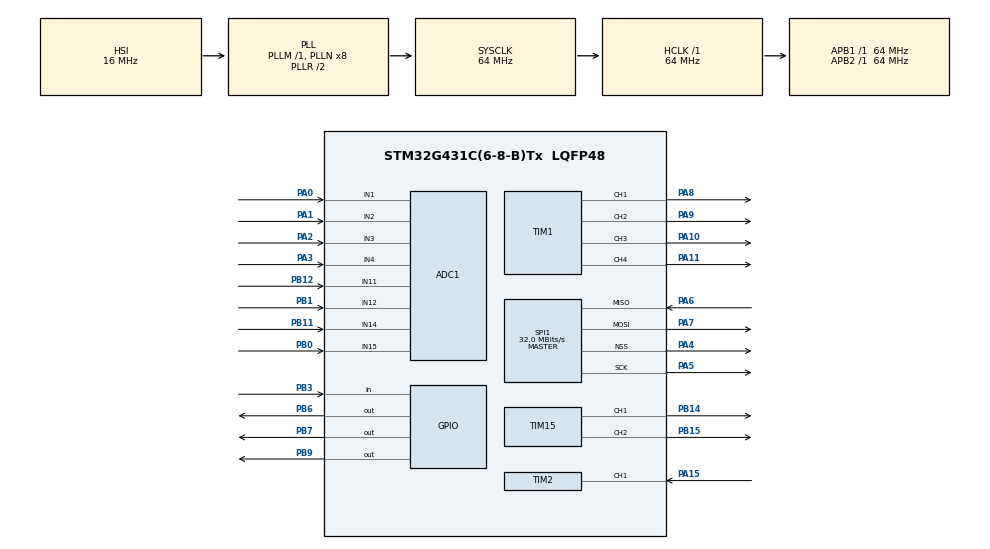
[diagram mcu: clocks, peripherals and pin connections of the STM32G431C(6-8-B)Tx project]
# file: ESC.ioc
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ADC1.Channel-1\#ChannelRegularConversion=ADC_CHANNEL_1
ADC1.Channel-2\#ChannelRegularConversion=ADC_CHANNEL_2
ADC1.Channel-3\#ChannelRegularConversion=ADC_CHANNEL_3
ADC1.Channel-4\#ChannelRegularConversion=ADC_CHANNEL_4
ADC1.Channel-5\#ChannelRegularConversion=ADC_CHANNEL_11
ADC1.Channel-6\#ChannelRegularConversion=ADC_CHANNEL_12
ADC1.Channel-7\#ChannelRegularConversion=ADC_CHANNEL_14
ADC1.Channel-8\#ChannelRegularConversion=ADC_CHANNEL_15
ADC1.Channel-9\#ChannelRegularConversion=ADC_CHANNEL_TEMPSENSOR_ADC1
ADC1.DiscontinuousConvMode=ENABLE
ADC1.NbrOfConversion=9
ADC1.NbrOfConversionFlag=1
ADC1.OffsetNumber-1\#ChannelRegularConversion=ADC_OFFSET_NONE
ADC1.OffsetNumber-2\#ChannelRegularConversion=ADC_OFFSET_NONE
ADC1.OffsetNumber-3\#ChannelRegularConversion=ADC_OFFSET_NONE
ADC1.OffsetNumber-4\#ChannelRegularConversion=ADC_OFFSET_NONE
ADC1.OffsetNumber-5\#ChannelRegularConversion=ADC_OFFSET_NONE
ADC1.OffsetNumber-6\#ChannelRegularConversion=ADC_OFFSET_NONE
ADC1.OffsetNumber-7\#ChannelRegularConversion=ADC_OFFSET_NONE
ADC1.OffsetNumber-8\#ChannelRegularConversion=ADC_OFFSET_NONE
ADC1.OffsetNumber-9\#ChannelRegularConversion=ADC_OFFSET_NONE
ADC1.Rank-1\#ChannelRegularConversion=1
ADC1.Rank-2\#ChannelRegularConversion=2
ADC1.Rank-3\#ChannelRegularConversion=3
ADC1.Rank-4\#ChannelRegularConversion=4
ADC1.Rank-5\#ChannelRegularConversion=5
ADC1.Rank-6\#ChannelRegularConversion=6
ADC1.Rank-7\#ChannelRegularConversion=7
ADC1.Rank-8\#ChannelRegularConversion=8
ADC1.Rank-9\#ChannelRegularConversion=9
ADC1.SamplingTime-1\#ChannelRegularConversion=ADC_SAMPLETIME_2CYCLES_5
ADC1.SamplingTime-2\#ChannelRegularConversion=ADC_SAMPLETIME_2CYCLES_5
ADC1.SamplingTime-3\#ChannelRegularConversion=ADC_SAMPLETIME_2CYCLES_5
ADC1.SamplingTime-4\#ChannelRegularConversion=ADC_SAMPLETIME_2CYCLES_5
ADC1.SamplingTime-5\#ChannelRegularConversion=ADC_SAMPLETIME_2CYCLES_5
ADC1.SamplingTime-6\#ChannelRegularConversion=ADC_SAMPLETIME_2CYCLES_5
ADC1.SamplingTime-7\#ChannelRegularConversion=ADC_SAMPLETIME_2CYCLES_5
ADC1.SamplingTime-8\#ChannelRegularConversion=ADC_SAMPLETIME_2CYCLES_5
ADC1.SamplingTime-9\#ChannelRegularConversion=ADC_SAMPLETIME_2CYCLES_5
ADC1.master=1
Dma.ADC1.0.Direction=DMA_PERIPH_TO_MEMORY
Dma.ADC1.0.EventEnable=DISABLE
Dma.ADC1.0.Instance=DMA1_Channel1
Dma.ADC1.0.MemDataAlignment=DMA_MDATAALIGN_WORD
Dma.ADC1.0.MemInc=DMA_MINC_ENABLE
Dma.ADC1.0.Mode=DMA_CIRCULAR
Dma.ADC1.0.PeriphDataAlignment=DMA_PDATAALIGN_WORD
Dma.ADC1.0.PeriphInc=DMA_PINC_DISABLE
Dma.ADC1.0.Polarity=HAL_DMAMUX_REQ_GEN_RISING
Dma.ADC1.0.Priority=DMA_PRIORITY_LOW
Dma.ADC1.0.RequestNumber=1
Dma.ADC1.0.SignalID=NONE
Dma.ADC1.0.SyncEnable=DISABLE
Dma.ADC1.0.SyncPolarity=HAL_DMAMUX_SYNC_NO_EVENT
Dma.ADC1.0.SyncRequestNumber=1
Dma.ADC1.0.SyncSignalID=NONE
Dma.Request0=ADC1
Mcu.Family=STM32G4
Mcu.Name=STM32G431C(6-8-B)Tx
Mcu.Package=LQFP48
NVIC.DMA1_Channel1_IRQn=true\:0\:0\:false\:false\:true\:false\:true\:true
NVIC.PriorityGroup=NVIC_PRIORITYGROUP_4
NVIC.TIM1_BRK_TIM15_IRQn=true\:0\:0\:false\:false\:true\:true\:true\:true
PA0.Mode=IN1-Single-Ended
PA0.Signal=ADC1_IN1
PA1.Mode=IN2-Single-Ended
PA1.Signal=ADC1_IN2
PA10.Signal=S_TIM1_CH3
PA11.Signal=S_TIM1_CH4
PA13.Signal=SYS_JTMS-SWDIO
PA14.Signal=SYS_JTCK-SWCLK
PA15.Signal=S_TIM2_CH1
PA2.Mode=IN3-Single-Ended
PA2.Signal=ADC1_IN3
PA3.Mode=IN4-Single-Ended
PA3.Signal=ADC1_IN4
PA4.Mode=NSS_Signal_Hard_Output
PA4.Signal=SPI1_NSS
PA5.Mode=Full_Duplex_Master
PA5.Signal=SPI1_SCK
PA6.Mode=Full_Duplex_Master
PA6.Signal=SPI1_MISO
PA7.Mode=Full_Duplex_Master
PA7.Signal=SPI1_MOSI
PA8.Signal=S_TIM1_CH1
PA9.Signal=S_TIM1_CH2
PB0.Mode=IN15-Single-Ended
PB0.Signal=ADC1_IN15
PB1.Mode=IN12-Single-Ended
PB1.Signal=ADC1_IN12
PB11.Mode=IN14-Single-Ended
PB11.Signal=ADC1_IN14
PB12.Mode=IN11-Single-Ended
PB12.Signal=ADC1_IN11
PB14.Signal=S_TIM15_CH1
PB15.Signal=S_TIM15_CH2
PB3.GPIO_PuPd=GPIO_PULLDOWN
PB3.Signal=GPIO_Input
PB6.Signal=GPIO_Output
PB7.GPIO_PuPd=GPIO_PULLDOWN
PB7.Signal=GPIO_Output
PB9.GPIO_PuPd=GPIO_PULLUP
PB9.Signal=GPIO_Output
PF0-OSC_IN.Mode=HSE-External-Oscillator
PF0-OSC_IN.Signal=RCC_OSC_IN
PF1-OSC_OUT.Mode=HSE-External-Oscillator
PF1-OSC_OUT.Signal=RCC_OSC_OUT
ProjectManager.HeapSize=0x200
ProjectManager.StackSize=0x400
ProjectManager.TargetToolchain=CMake
RCC.ADC12Freq_Value=64000000
RCC.AHBFreq_Value=64000000
RCC.APB1Freq_Value=64000000
RCC.APB1TimFreq_Value=64000000
RCC.APB2Freq_Value=64000000
RCC.APB2TimFreq_Value=64000000
RCC.CortexFreq_Value=64000000
RCC.EXTERNAL_CLOCK_VALUE=12288000
RCC.HCLKFreq_Value=64000000
RCC.HSE_VALUE=16000000
RCC.HSI48_VALUE=48000000
RCC.HSI_VALUE=16000000
RCC.LSE_VALUE=32768
RCC.SYSCLKFreq_VALUE=64000000
RCC.SYSCLKSource=RCC_SYSCLKSOURCE_PLLCLK
RCC.USBFreq_Value=64000000
RCC.VCOOutputFreq_Value=128000000
SH.S_TIM15_CH1.0=TIM15_CH1,PWM Generation1 CH1
SH.S_TIM15_CH2.0=TIM15_CH2,PWM Generation2 CH2
SH.S_TIM1_CH1.0=TIM1_CH1,PWM Generation1 CH1
SH.S_TIM1_CH2.0=TIM1_CH2,PWM Generation2 CH2
SH.S_TIM1_CH3.0=TIM1_CH3,PWM Generation3 CH3
SH.S_TIM1_CH4.0=TIM1_CH4,PWM Generation4 CH4
SH.S_TIM2_CH1.0=TIM2_CH1,PWM_Input_1
SPI1.CalculateBaudRate=32.0 MBits/s
SPI1.Direction=SPI_DIRECTION_2LINES
SPI1.Mode=SPI_MODE_MASTER
SPI1.VirtualNSS=VM_NSSHARD
SPI1.VirtualType=VM_MASTER
TIM1.Channel-PWM\ Generation1\ CH1=TIM_CHANNEL_1
TIM1.Channel-PWM\ Generation2\ CH2=TIM_CHANNEL_2
TIM1.Channel-PWM\ Generation3\ CH3=TIM_CHANNEL_3
TIM1.Channel-PWM\ Generation4\ CH4=TIM_CHANNEL_4
TIM15.Channel-PWM\ Generation1\ CH1=TIM_CHANNEL_1
TIM15.Channel-PWM\ Generation2\ CH2=TIM_CHANNEL_2
VP_ADC1_TempSens_Input.Mode=IN-TempSens
VP_SYS_VS_DBSignals.Mode=DisableDeadBatterySignals
VP_TIM15_VS_ClockSourceINT.Mode=Internal
VP_TIM1_VS_ClockSourceINT.Mode=Internal
VP_TIM2_VS_ClockSourceINT.Mode=Internal
board=custom

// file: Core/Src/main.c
/* USER CODE BEGIN Header */
/**
 ******************************************************************************
 * @file           : main.c
 * @brief          : Main program body
 ******************************************************************************
 * @attention
 *
 * Copyright (c) 2026 STMicroelectronics.
 * All rights reserved.
 *
 * This software is licensed under terms that can be found in the LICENSE file
 * in the root directory of this software component.
 * If no LICENSE file comes with this software, it is provided AS-IS.
 *
 ******************************************************************************
 */
/* USER CODE END Header */
#include "main.h"

/* USER CODE BEGIN Includes */
#include <stdbool.h>
#include <stddef.h>
#include <stdint.h>
#include <sys/types.h>

#include "pid.h"

/* USER CODE END Includes */

/* USER CODE BEGIN PD */

// Configuration define
#define HAL_TIMEOUT 100
#define MIN_RPM 100
#define MAX_RPM 1000
#define BEMF_MIN_MARGIN 0.1 // How much above zero the BEMF voltage needs to be to read
#define BEMF_MAX_MARGIN 1   // How much below sys voltage BEMF needs to be to read
#define SET_ROTOR_TIME 10   // How long to wait in ms to set rotor to position
#define MIN_DUTY_CYCLE 0.1  // Minimum pwm duty cycle to send to gate driver

// System define
#define SYS_VOLT_INDEX 0
#define BEMF_A_INDEX 1
#define BEMF_B_INDEX 2
#define BEMF_C_INDEX 3
#define CURRENT_A_INDEX 4
#define CURRENT_B_INDEX 6
#define CURRENT_C_INDEX 5
#define V_GND_INDEX 7
#define TEMP_INDEX 8

/* USER CODE END PD */

ADC_HandleTypeDef hadc1;
DMA_HandleTypeDef hdma_adc1;

SPI_HandleTypeDef hspi1;

TIM_HandleTypeDef htim1;
TIM_HandleTypeDef htim2;
TIM_HandleTypeDef htim15;

/* USER CODE BEGIN PV */

const uint32_t STARTUP_DELAY = MIN_RPM / 360000; // Convert RPM to 1/6 revolutions per ms

pid_control_t speed_pid;

double rotor_angle;
double prev_rotor_angle;
double prev_rotor_angle_time;
double prev_rotor_speed_time;
double zero_cross_time;
double rotor_speed;
double input_speed;

double rotor_current[3];
double rotor_bemf[3];
double prev_rotor_bemf[3];

int8_t dir;
int8_t sequence[6][3] = { // 1 is VCC, -1 is GND, and 0 is floating
	{1, -1, 0},
	{1, 0, -1},
	{0, 1, -1},
	{-1, 1, 0},
	{-1, 0, 1},
	{0, -1, 1}
};
volatile uint32_t *sequence_tim[3][2] = {
	{&TIM1->CCR4, &TIM1->CCR3},
	{&TIM1->CCR2, &TIM1->CCR1},
	{&TIM2->CCR2, &TIM2->CCR1},
};
uint32_t phase_angles[] = {0, 120, 240};
uint8_t step;
uint8_t floating;

uint32_t adc_buf[9];

/* USER CODE END PV */

void SystemClock_Config(void);
static void MX_GPIO_Init(void);
static void MX_DMA_Init(void);
static void MX_SPI1_Init(void);
static void MX_ADC1_Init(void);
static void MX_TIM1_Init(void);
static void MX_TIM15_Init(void);
static void MX_TIM2_Init(void);
/* USER CODE BEGIN PFP */

// Helper functions
static uint8_t sign(double value);
static float process_adc(uint32_t raw_value);
static float process_current(double raw_value);
static uint8_t check_valid_bemf(double bemf_v);
static double clamp(double value, double min, double max);
static double map(double value, double in_min, double in_max, double out_min, double out_max);

// Primary funcitons
static double get_rotor_angle(uint8_t floating, double rotor_speed);
static void get_rotor_bemf(double *rotor_bemf_p);
static void get_rotor_current(double *rotor_current_p);

static void drive_rotor(uint8_t step, double duty_cycle);
static void get_zero_crossing(double bemf[3], double prev_bemf[3]);

static void set_rotor(void);
static void startup_sequence(void);

/* USER CODE END PFP */

int main(void)
{

	/* USER CODE BEGIN 1 */
	reset_pid(&speed_pid);

	/* USER CODE END 1 */

	/* MCU Configuration--------------------------------------------------------*/

	/* Reset of all peripherals, Initializes the Flash interface and the Systick. */
	HAL_Init();

	/* Configure the system clock */
	SystemClock_Config();

	/* Initialize all configured peripherals */
	MX_GPIO_Init();
	MX_DMA_Init();
	MX_SPI1_Init();
	MX_ADC1_Init();
	MX_TIM1_Init();
	MX_TIM15_Init();
	MX_TIM2_Init();
	/* USER CODE BEGIN 2 */

	// Start polling ADC
	HAL_ADC_Start_DMA(&hadc1, adc_buf, 9);

	set_rotor();

	/* USER CODE END 2 */

	/* Infinite loop */
	while (1)
	{

		/* USER CODE BEGIN 3 */
		get_rotor_bemf(rotor_bemf);
		get_zero_crossing(rotor_bemf, prev_rotor_bemf);
		rotor_angle = get_rotor_angle(floating, rotor_speed);

		loop_pid(&speed_pid, rotor_speed, input_speed);

		drive_rotor(step, clamp(speed_pid.output, MIN_DUTY_CYCLE, 100));

		// Update previous rotor bemf
		for (int i = 0; i < 3; i++) {
			prev_rotor_bemf[i] = rotor_bemf[i];
		}
	}
	/* USER CODE END 3 */
}

void SystemClock_Config(void)
{
	RCC_OscInitTypeDef RCC_OscInitStruct = {0};
	RCC_ClkInitTypeDef RCC_ClkInitStruct = {0};

	/** Configure the main internal regulator output voltage
	 */
	HAL_PWREx_ControlVoltageScaling(PWR_REGULATOR_VOLTAGE_SCALE1);

	/** Initializes the RCC Oscillators according to the specified parameters
	 * in the RCC_OscInitTypeDef structure.
	 */
	RCC_OscInitStruct.OscillatorType = RCC_OSCILLATORTYPE_HSI;
	RCC_OscInitStruct.HSIState = RCC_HSI_ON;
	RCC_OscInitStruct.HSICalibrationValue = RCC_HSICALIBRATION_DEFAULT;
	RCC_OscInitStruct.PLL.PLLState = RCC_PLL_ON;
	RCC_OscInitStruct.PLL.PLLSource = RCC_PLLSOURCE_HSI;
	RCC_OscInitStruct.PLL.PLLM = RCC_PLLM_DIV1;
	RCC_OscInitStruct.PLL.PLLN = 8;
	RCC_OscInitStruct.PLL.PLLP = RCC_PLLP_DIV2;
	RCC_OscInitStruct.PLL.PLLQ = RCC_PLLQ_DIV2;
	RCC_OscInitStruct.PLL.PLLR = RCC_PLLR_DIV2;
	if (HAL_RCC_OscConfig(&RCC_OscInitStruct) != HAL_OK)
	{
		Error_Handler();
	}

	/** Initializes the CPU, AHB and APB buses clocks
	 */
	RCC_ClkInitStruct.ClockType = RCC_CLOCKTYPE_HCLK|RCC_CLOCKTYPE_SYSCLK
	                              |RCC_CLOCKTYPE_PCLK1|RCC_CLOCKTYPE_PCLK2;
	RCC_ClkInitStruct.SYSCLKSource = RCC_SYSCLKSOURCE_PLLCLK;
	RCC_ClkInitStruct.AHBCLKDivider = RCC_SYSCLK_DIV1;
	RCC_ClkInitStruct.APB1CLKDivider = RCC_HCLK_DIV1;
	RCC_ClkInitStruct.APB2CLKDivider = RCC_HCLK_DIV1;

	if (HAL_RCC_ClockConfig(&RCC_ClkInitStruct, FLASH_LATENCY_2) != HAL_OK)
	{
		Error_Handler();
	}
}

static void MX_ADC1_Init(void)
{

	ADC_MultiModeTypeDef multimode = {0};
	ADC_ChannelConfTypeDef sConfig = {0};

	/** Common config
	 */
	hadc1.Instance = ADC1;
	hadc1.Init.ClockPrescaler = ADC_CLOCK_SYNC_PCLK_DIV2;
	hadc1.Init.Resolution = ADC_RESOLUTION_12B;
	hadc1.Init.DataAlign = ADC_DATAALIGN_RIGHT;
	hadc1.Init.GainCompensation = 0;
	hadc1.Init.ScanConvMode = ADC_SCAN_ENABLE;
	hadc1.Init.EOCSelection = ADC_EOC_SINGLE_CONV;
	hadc1.Init.LowPowerAutoWait = DISABLE;
	hadc1.Init.ContinuousConvMode = DISABLE;
	hadc1.Init.NbrOfConversion = 9;
	hadc1.Init.DiscontinuousConvMode = ENABLE;
	hadc1.Init.NbrOfDiscConversion = 1;
	hadc1.Init.ExternalTrigConv = ADC_SOFTWARE_START;
	hadc1.Init.ExternalTrigConvEdge = ADC_EXTERNALTRIGCONVEDGE_NONE;
	hadc1.Init.DMAContinuousRequests = DISABLE;
	hadc1.Init.Overrun = ADC_OVR_DATA_PRESERVED;
	hadc1.Init.OversamplingMode = DISABLE;
	if (HAL_ADC_Init(&hadc1) != HAL_OK)
	{
		Error_Handler();
	}

	/** Configure the ADC multi-mode
	 */
	multimode.Mode = ADC_MODE_INDEPENDENT;
	if (HAL_ADCEx_MultiModeConfigChannel(&hadc1, &multimode) != HAL_OK)
	{
		Error_Handler();
	}

	/** Configure Regular Channel
	 */
	sConfig.Channel = ADC_CHANNEL_1;
	sConfig.Rank = ADC_REGULAR_RANK_1;
	sConfig.SamplingTime = ADC_SAMPLETIME_2CYCLES_5;
	sConfig.SingleDiff = ADC_SINGLE_ENDED;
	sConfig.OffsetNumber = ADC_OFFSET_NONE;
	sConfig.Offset = 0;
	if (HAL_ADC_ConfigChannel(&hadc1, &sConfig) != HAL_OK)
	{
		Error_Handler();
	}

	/** Configure Regular Channel
	 */
	sConfig.Channel = ADC_CHANNEL_2;
	sConfig.Rank = ADC_REGULAR_RANK_2;
	if (HAL_ADC_ConfigChannel(&hadc1, &sConfig) != HAL_OK)
	{
		Error_Handler();
	}

	/** Configure Regular Channel
	 */
	sConfig.Channel = ADC_CHANNEL_3;
	sConfig.Rank = ADC_REGULAR_RANK_3;
	if (HAL_ADC_ConfigChannel(&hadc1, &sConfig) != HAL_OK)
	{
		Error_Handler();
	}

	/** Configure Regular Channel
	 */
	sConfig.Channel = ADC_CHANNEL_4;
	sConfig.Rank = ADC_REGULAR_RANK_4;
	if (HAL_ADC_ConfigChannel(&hadc1, &sConfig) != HAL_OK)
	{
		Error_Handler();
	}

	/** Configure Regular Channel
	 */
	sConfig.Channel = ADC_CHANNEL_11;
	sConfig.Rank = ADC_REGULAR_RANK_5;
	if (HAL_ADC_ConfigChannel(&hadc1, &sConfig) != HAL_OK)
	{
		Error_Handler();
	}

	/** Configure Regular Channel
	 */
	sConfig.Channel = ADC_CHANNEL_12;
	sConfig.Rank = ADC_REGULAR_RANK_6;
	if (HAL_ADC_ConfigChannel(&hadc1, &sConfig) != HAL_OK)
	{
		Error_Handler();
	}

	/** Configure Regular Channel
	 */
	sConfig.Channel = ADC_CHANNEL_14;
	sConfig.Rank = ADC_REGULAR_RANK_7;
	if (HAL_ADC_ConfigChannel(&hadc1, &sConfig) != HAL_OK)
	{
		Error_Handler();
	}

	/** Configure Regular Channel
	 */
	sConfig.Channel = ADC_CHANNEL_15;
	sConfig.Rank = ADC_REGULAR_RANK_8;
	if (HAL_ADC_ConfigChannel(&hadc1, &sConfig) != HAL_OK)
	{
		Error_Handler();
	}

	/** Configure Regular Channel
	 */
	sConfig.Channel = ADC_CHANNEL_TEMPSENSOR_ADC1;
	sConfig.Rank = ADC_REGULAR_RANK_9;
	if (HAL_ADC_ConfigChannel(&hadc1, &sConfig) != HAL_OK)
	{
		Error_Handler();
	}

}

static void MX_SPI1_Init(void)
{

	/* SPI1 parameter configuration*/
	hspi1.Instance = SPI1;
	hspi1.Init.Mode = SPI_MODE_MASTER;
	hspi1.Init.Direction = SPI_DIRECTION_2LINES;
	hspi1.Init.DataSize = SPI_DATASIZE_4BIT;
	hspi1.Init.CLKPolarity = SPI_POLARITY_LOW;
	hspi1.Init.CLKPhase = SPI_PHASE_1EDGE;
	hspi1.Init.NSS = SPI_NSS_HARD_OUTPUT;
	hspi1.Init.BaudRatePrescaler = SPI_BAUDRATEPRESCALER_2;
	hspi1.Init.FirstBit = SPI_FIRSTBIT_MSB;
	hspi1.Init.TIMode = SPI_TIMODE_DISABLE;
	hspi1.Init.CRCCalculation = SPI_CRCCALCULATION_DISABLE;
	hspi1.Init.CRCPolynomial = 7;
	hspi1.Init.CRCLength = SPI_CRC_LENGTH_DATASIZE;
	hspi1.Init.NSSPMode = SPI_NSS_PULSE_ENABLE;
	if (HAL_SPI_Init(&hspi1) != HAL_OK)
	{
		Error_Handler();
	}

}

static void MX_TIM1_Init(void)
{

	TIM_ClockConfigTypeDef sClockSourceConfig = {0};
	TIM_MasterConfigTypeDef sMasterConfig = {0};
	TIM_OC_InitTypeDef sConfigOC = {0};
	TIM_BreakDeadTimeConfigTypeDef sBreakDeadTimeConfig = {0};

	htim1.Instance = TIM1;
	htim1.Init.Prescaler = 0;
	htim1.Init.CounterMode = TIM_COUNTERMODE_UP;
	htim1.Init.Period = 65535;
	htim1.Init.ClockDivision = TIM_CLOCKDIVISION_DIV1;
	htim1.Init.RepetitionCounter = 0;
	htim1.Init.AutoReloadPreload = TIM_AUTORELOAD_PRELOAD_DISABLE;
	if (HAL_TIM_Base_Init(&htim1) != HAL_OK)
	{
		Error_Handler();
	}
	sClockSourceConfig.ClockSource = TIM_CLOCKSOURCE_INTERNAL;
	if (HAL_TIM_ConfigClockSource(&htim1, &sClockSourceConfig) != HAL_OK)
	{
		Error_Handler();
	}
	if (HAL_TIM_PWM_Init(&htim1) != HAL_OK)
	{
		Error_Handler();
	}
	sMasterConfig.MasterOutputTrigger = TIM_TRGO_RESET;
	sMasterConfig.MasterOutputTrigger2 = TIM_TRGO2_RESET;
	sMasterConfig.MasterSlaveMode = TIM_MASTERSLAVEMODE_DISABLE;
	if (HAL_TIMEx_MasterConfigSynchronization(&htim1, &sMasterConfig) != HAL_OK)
	{
		Error_Handler();
	}
	sConfigOC.OCMode = TIM_OCMODE_PWM1;
	sConfigOC.Pulse = 0;
	sConfigOC.OCPolarity = TIM_OCPOLARITY_HIGH;
	sConfigOC.OCNPolarity = TIM_OCNPOLARITY_HIGH;
	sConfigOC.OCFastMode = TIM_OCFAST_DISABLE;
	sConfigOC.OCIdleState = TIM_OCIDLESTATE_RESET;
	sConfigOC.OCNIdleState = TIM_OCNIDLESTATE_RESET;
	if (HAL_TIM_PWM_ConfigChannel(&htim1, &sConfigOC, TIM_CHANNEL_1) != HAL_OK)
	{
		Error_Handler();
	}
	if (HAL_TIM_PWM_ConfigChannel(&htim1, &sConfigOC, TIM_CHANNEL_2) != HAL_OK)
	{
		Error_Handler();
	}
	if (HAL_TIM_PWM_ConfigChannel(&htim1, &sConfigOC, TIM_CHANNEL_3) != HAL_OK)
	{
		Error_Handler();
	}
	if (HAL_TIM_PWM_ConfigChannel(&htim1, &sConfigOC, TIM_CHANNEL_4) != HAL_OK)
	{
		Error_Handler();
	}
	sBreakDeadTimeConfig.OffStateRunMode = TIM_OSSR_DISABLE;
	sBreakDeadTimeConfig.OffStateIDLEMode = TIM_OSSI_DISABLE;
	sBreakDeadTimeConfig.LockLevel = TIM_LOCKLEVEL_OFF;
	sBreakDeadTimeConfig.DeadTime = 0;
	sBreakDeadTimeConfig.BreakState = TIM_BREAK_DISABLE;
	sBreakDeadTimeConfig.BreakPolarity = TIM_BREAKPOLARITY_HIGH;
	sBreakDeadTimeConfig.BreakFilter = 0;
	sBreakDeadTimeConfig.BreakAFMode = TIM_BREAK_AFMODE_INPUT;
	sBreakDeadTimeConfig.Break2State = TIM_BREAK2_DISABLE;
	sBreakDeadTimeConfig.Break2Polarity = TIM_BREAK2POLARITY_HIGH;
	sBreakDeadTimeConfig.Break2Filter = 0;
	sBreakDeadTimeConfig.Break2AFMode = TIM_BREAK_AFMODE_INPUT;
	sBreakDeadTimeConfig.AutomaticOutput = TIM_AUTOMATICOUTPUT_DISABLE;
	if (HAL_TIMEx_ConfigBreakDeadTime(&htim1, &sBreakDeadTimeConfig) != HAL_OK)
	{
		Error_Handler();
	}
	HAL_TIM_MspPostInit(&htim1);

}

static void MX_TIM2_Init(void)
{

	TIM_ClockConfigTypeDef sClockSourceConfig = {0};
	TIM_SlaveConfigTypeDef sSlaveConfig = {0};
	TIM_IC_InitTypeDef sConfigIC = {0};
	TIM_MasterConfigTypeDef sMasterConfig = {0};

	htim2.Instance = TIM2;
	htim2.Init.Prescaler = 0;
	htim2.Init.CounterMode = TIM_COUNTERMODE_UP;
	htim2.Init.Period = 4294967295;
	htim2.Init.ClockDivision = TIM_CLOCKDIVISION_DIV1;
	htim2.Init.AutoReloadPreload = TIM_AUTORELOAD_PRELOAD_DISABLE;
	if (HAL_TIM_Base_Init(&htim2) != HAL_OK)
	{
		Error_Handler();
	}
	sClockSourceConfig.ClockSource = TIM_CLOCKSOURCE_INTERNAL;
	if (HAL_TIM_ConfigClockSource(&htim2, &sClockSourceConfig) != HAL_OK)
	{
		Error_Handler();
	}
	if (HAL_TIM_IC_Init(&htim2) != HAL_OK)
	{
		Error_Handler();
	}
	sSlaveConfig.SlaveMode = TIM_SLAVEMODE_RESET;
	sSlaveConfig.InputTrigger = TIM_TS_TI1FP1;
	sSlaveConfig.TriggerPolarity = TIM_INPUTCHANNELPOLARITY_RISING;
	sSlaveConfig.TriggerPrescaler = TIM_ICPSC_DIV1;
	sSlaveConfig.TriggerFilter = 0;
	if (HAL_TIM_SlaveConfigSynchro(&htim2, &sSlaveConfig) != HAL_OK)
	{
		Error_Handler();
	}
	sConfigIC.ICPolarity = TIM_INPUTCHANNELPOLARITY_RISING;
	sConfigIC.ICSelection = TIM_ICSELECTION_DIRECTTI;
	sConfigIC.ICPrescaler = TIM_ICPSC_DIV1;
	sConfigIC.ICFilter = 0;
	if (HAL_TIM_IC_ConfigChannel(&htim2, &sConfigIC, TIM_CHANNEL_1) != HAL_OK)
	{
		Error_Handler();
	}
	sConfigIC.ICPolarity = TIM_INPUTCHANNELPOLARITY_FALLING;
	sConfigIC.ICSelection = TIM_ICSELECTION_INDIRECTTI;
	if (HAL_TIM_IC_ConfigChannel(&htim2, &sConfigIC, TIM_CHANNEL_2) != HAL_OK)
	{
		Error_Handler();
	}
	sMasterConfig.MasterOutputTrigger = TIM_TRGO_RESET;
	sMasterConfig.MasterSlaveMode = TIM_MASTERSLAVEMODE_DISABLE;
	if (HAL_TIMEx_MasterConfigSynchronization(&htim2, &sMasterConfig) != HAL_OK)
	{
		Error_Handler();
	}

}

static void MX_TIM15_Init(void)
{

	TIM_ClockConfigTypeDef sClockSourceConfig = {0};
	TIM_MasterConfigTypeDef sMasterConfig = {0};
	TIM_OC_InitTypeDef sConfigOC = {0};
	TIM_BreakDeadTimeConfigTypeDef sBreakDeadTimeConfig = {0};

	htim15.Instance = TIM15;
	htim15.Init.Prescaler = 0;
	htim15.Init.CounterMode = TIM_COUNTERMODE_UP;
	htim15.Init.Period = 65535;
	htim15.Init.ClockDivision = TIM_CLOCKDIVISION_DIV1;
	htim15.Init.RepetitionCounter = 0;
	htim15.Init.AutoReloadPreload = TIM_AUTORELOAD_PRELOAD_DISABLE;
	if (HAL_TIM_Base_Init(&htim15) != HAL_OK)
	{
		Error_Handler();
	}
	sClockSourceConfig.ClockSource = TIM_CLOCKSOURCE_INTERNAL;
	if (HAL_TIM_ConfigClockSource(&htim15, &sClockSourceConfig) != HAL_OK)
	{
		Error_Handler();
	}
	if (HAL_TIM_PWM_Init(&htim15) != HAL_OK)
	{
		Error_Handler();
	}
	sMasterConfig.MasterOutputTrigger = TIM_TRGO_RESET;
	sMasterConfig.MasterSlaveMode = TIM_MASTERSLAVEMODE_DISABLE;
	if (HAL_TIMEx_MasterConfigSynchronization(&htim15, &sMasterConfig) != HAL_OK)
	{
		Error_Handler();
	}
	sConfigOC.OCMode = TIM_OCMODE_PWM1;
	sConfigOC.Pulse = 0;
	sConfigOC.OCPolarity = TIM_OCPOLARITY_HIGH;
	sConfigOC.OCNPolarity = TIM_OCNPOLARITY_HIGH;
	sConfigOC.OCFastMode = TIM_OCFAST_DISABLE;
	sConfigOC.OCIdleState = TIM_OCIDLESTATE_RESET;
	sConfigOC.OCNIdleState = TIM_OCNIDLESTATE_RESET;
	if (HAL_TIM_PWM_ConfigChannel(&htim15, &sConfigOC, TIM_CHANNEL_1) != HAL_OK)
	{
		Error_Handler();
	}
	if (HAL_TIM_PWM_ConfigChannel(&htim15, &sConfigOC, TIM_CHANNEL_2) != HAL_OK)
	{
		Error_Handler();
	}
	sBreakDeadTimeConfig.OffStateRunMode = TIM_OSSR_DISABLE;
	sBreakDeadTimeConfig.OffStateIDLEMode = TIM_OSSI_DISABLE;
	sBreakDeadTimeConfig.LockLevel = TIM_LOCKLEVEL_OFF;
	sBreakDeadTimeConfig.DeadTime = 0;
	sBreakDeadTimeConfig.BreakState = TIM_BREAK_DISABLE;
	sBreakDeadTimeConfig.BreakPolarity = TIM_BREAKPOLARITY_HIGH;
	sBreakDeadTimeConfig.BreakFilter = 0;
	sBreakDeadTimeConfig.AutomaticOutput = TIM_AUTOMATICOUTPUT_DISABLE;
	if (HAL_TIMEx_ConfigBreakDeadTime(&htim15, &sBreakDeadTimeConfig) != HAL_OK)
	{
		Error_Handler();
	}
	HAL_TIM_MspPostInit(&htim15);

}

static void MX_DMA_Init(void)
{

	/* DMA controller clock enable */
	__HAL_RCC_DMAMUX1_CLK_ENABLE();
	__HAL_RCC_DMA1_CLK_ENABLE();

	/* DMA interrupt init */
	/* DMA1_Channel1_IRQn interrupt configuration */
	HAL_NVIC_SetPriority(DMA1_Channel1_IRQn, 0, 0);
	HAL_NVIC_EnableIRQ(DMA1_Channel1_IRQn);

}

static void MX_GPIO_Init(void)
{
	GPIO_InitTypeDef GPIO_InitStruct = {0};

	/* GPIO Ports Clock Enable */
	__HAL_RCC_GPIOF_CLK_ENABLE();
	__HAL_RCC_GPIOA_CLK_ENABLE();
	__HAL_RCC_GPIOB_CLK_ENABLE();

	/*Configure GPIO pin Output Level */
	HAL_GPIO_WritePin(GPIOB, GPIO_PIN_6|GPIO_PIN_7|GPIO_PIN_9, GPIO_PIN_RESET);

	/*Configure GPIO pin : PB3 */
	GPIO_InitStruct.Pin = GPIO_PIN_3;
	GPIO_InitStruct.Mode = GPIO_MODE_INPUT;
	GPIO_InitStruct.Pull = GPIO_PULLDOWN;
	HAL_GPIO_Init(GPIOB, &GPIO_InitStruct);

	/*Configure GPIO pin : PB6 */
	GPIO_InitStruct.Pin = GPIO_PIN_6;
	GPIO_InitStruct.Mode = GPIO_MODE_OUTPUT_PP;
	GPIO_InitStruct.Pull = GPIO_NOPULL;
	GPIO_InitStruct.Speed = GPIO_SPEED_FREQ_LOW;
	HAL_GPIO_Init(GPIOB, &GPIO_InitStruct);

	/*Configure GPIO pin : PB7 */
	GPIO_InitStruct.Pin = GPIO_PIN_7;
	GPIO_InitStruct.Mode = GPIO_MODE_OUTPUT_PP;
	GPIO_InitStruct.Pull = GPIO_PULLDOWN;
	GPIO_InitStruct.Speed = GPIO_SPEED_FREQ_LOW;
	HAL_GPIO_Init(GPIOB, &GPIO_InitStruct);

	/*Configure GPIO pin : PB9 */
	GPIO_InitStruct.Pin = GPIO_PIN_9;
	GPIO_InitStruct.Mode = GPIO_MODE_OUTPUT_PP;
	GPIO_InitStruct.Pull = GPIO_PULLUP;
	GPIO_InitStruct.Speed = GPIO_SPEED_FREQ_LOW;
	HAL_GPIO_Init(GPIOB, &GPIO_InitStruct);

}

/* USER CODE BEGIN 4 */

void HAL_TIM_IC_CaptureCallback(TIM_HandleTypeDef *htim)
{
	if (htim->Instance == TIM15)
	{
		uint32_t cycle_time = HAL_TIM_ReadCapturedValue(htim, TIM_CHANNEL_1);

		if (cycle_time == 0) {
			return;
		}

		double duty_cycle = (HAL_TIM_ReadCapturedValue(htim, TIM_CHANNEL_2) * 100.0) / cycle_time;

		// Convert duty cycle to rpm
		rotor_speed = map(duty_cycle, 0, 100, MIN_RPM, MAX_RPM);
	}
}

static uint8_t sign(double value) {
	if (value > 0) {
		return 1;
	}

	if (value < 0) {
		return -1;
	}

	return 0;
}

static float process_adc(uint32_t raw_value) {
	return (raw_value * ADC_RESOLUTION_12B) / 3.3;
}

static float process_current(double raw_value) {
	return (1.65 - raw_value) / (20000000); // ((V_ref (3.3) / 2) - raw_value) / (gain (20) * R_sense (1000000))
}

static uint8_t check_valid_bemf(double bemf_v) {
	if (bemf_v < BEMF_MIN_MARGIN) {
		return 1; // BEMF voltage is too small to read
	}

	if (bemf_v > adc_buf[SYS_VOLT_INDEX] - BEMF_MAX_MARGIN) {
		return 2; // BEMF is to close to sys voltage, probably not true BEMF
	}

	return 0;
}

static double clamp(double value, double min, double max) {
	if (value < min) {
		return min;
	}

	if (value > max) {
		return max;
	}

	return value;
}

static double map(double value, double in_min, double in_max, double out_min, double out_max) {
	return (value - in_min) * (out_max - out_min) / (in_max - in_min) + out_min;
}

static double get_rotor_angle(uint8_t floating, double rotor_speed) {
	double angle = phase_angles[floating];

	double rotor_time = HAL_GetTick() - zero_cross_time;
	angle += rotor_speed * (rotor_time / 60000); // Convert rotor time to minutes.

	return angle;
}

static void get_rotor_bemf(double *rotor_bemf_p) {
	float v_gnd = process_adc(adc_buf[V_GND_INDEX ]);

	// Phase A is floating
	if (floating == 0) {
		double voltage = process_adc(adc_buf[BEMF_A_INDEX]) - v_gnd;

		if (check_valid_bemf(voltage) == 1) { // BEMF is to small to detect, run startup sequence
			startup_sequence();
		}

		if (check_valid_bemf(voltage) == 2) { // BEMF is sys voltage, reading ADC at the wrong time
			return;
		}

		rotor_bemf_p[0] = voltage;
		return;
	}

	// Phase B is floating
	if (floating == 1) {
		double voltage = process_adc(adc_buf[BEMF_B_INDEX]) - v_gnd;

		if (check_valid_bemf(voltage) == 1) { // BEMF is to small to detect, run startup sequence
			startup_sequence();
		}

		if (check_valid_bemf(voltage) == 2) { // BEMF is sys voltage, reading ADC at the wrong time
			return;
		}

		rotor_bemf_p[1] = voltage;
		return;
	}

	// Phase C is floating
	if (floating == 2) {
		double voltage = process_adc(adc_buf[BEMF_C_INDEX]) - v_gnd;

		if (check_valid_bemf(voltage) == 1) { // BEMF is to small to detect, run startup sequence
			startup_sequence();
		}

		if (check_valid_bemf(voltage) == 2) { // BEMF is sys voltage, reading ADC at the wrong time
			return;
		}

		rotor_bemf_p[2] = voltage;
		return;
	}
}

static void get_rotor_current(double *rotor_current_p) {
	rotor_current_p[0] = process_current(process_adc(adc_buf[CURRENT_A_INDEX]));
	rotor_current_p[1] = process_current(process_adc(adc_buf[CURRENT_B_INDEX]));
	rotor_current_p[2] = process_current(process_adc(adc_buf[CURRENT_C_INDEX]));
}

static void drive_rotor(uint8_t step, double duty_cycle) {
	for (int i = 0; i < 3; i++) {
		if (dir * sequence[step][i] == 0) {
			floating = i;
			*sequence_tim[i][0] = 0;
			*sequence_tim[i][1] = 0;
			continue;
		}
		if (dir * sequence[step][i] == 1) {
			*sequence_tim[i][0] = duty_cycle;
			*sequence_tim[i][1] = 0;
			continue;
		}
		if (dir * sequence[step][i] == -1) {
			*sequence_tim[i][0] = 0;
			*sequence_tim[i][1] = duty_cycle;
			continue;
		}
	}
}

static void get_zero_crossing(double bemf[3], double prev_bemf[3]) {
	if (sign(rotor_bemf[floating] != sign(prev_rotor_bemf[floating]))) {
		step++;
		if (step > 6) {
			step = 0;
		}

		// Update speed when zero crossing is detected.
		double time = HAL_GetTick() - zero_cross_time;
		rotor_speed = 3 * (time / 60000); // Convert to RPM

		zero_cross_time = HAL_GetTick();
	}
}

static void set_rotor(void) {
	// Set rotor to 0 degrees

	drive_rotor(0, 100);

	HAL_Delay(SET_ROTOR_TIME);
}

static void startup_sequence(void) {
	drive_rotor(step, MIN_DUTY_CYCLE);

	HAL_Delay(STARTUP_DELAY);

	step++;
}

/* USER CODE END 4 */

void Error_Handler(void)
{
	__disable_irq();
	while (1)
	{
	}
}
